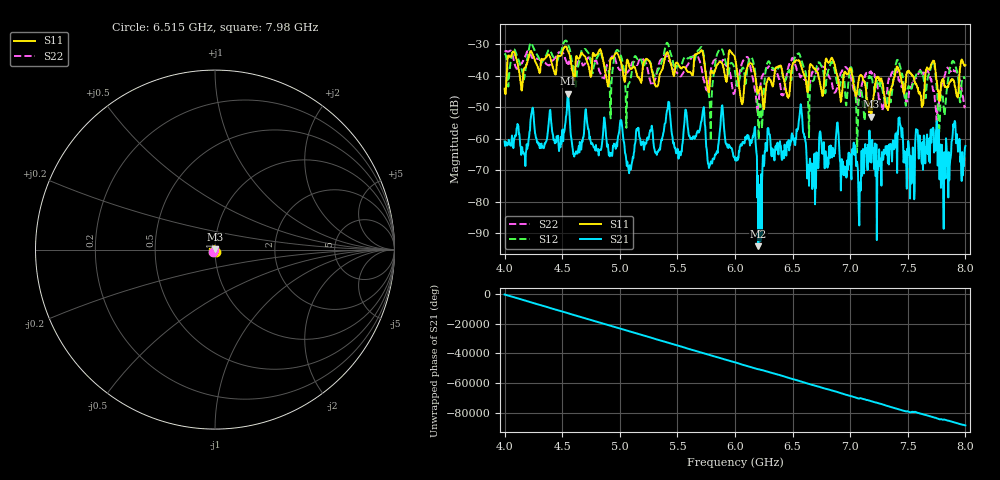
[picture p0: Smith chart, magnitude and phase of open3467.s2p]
# Hz  S  RI  R  50.0
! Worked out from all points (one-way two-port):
!   1000 points, 4 GHz to 8 GHz, reference 50 ohm
!   highest |S21| = -45.75 dB at 4.549 GHz (marker M1); lowest = -94.1 dB at 6.202 GHz (marker M2)
!   lowest |S11| = -53.1 dB at 7.183 GHz (marker M3), VSWR 1.00, Z = 50.1 + j0.206 ohm
!   |S11| at or under -10 dB: start of sweep to end of sweep
!   |S22| runs from -55.9 to -32.1 dB; largest |S21 - S12| = 0.038
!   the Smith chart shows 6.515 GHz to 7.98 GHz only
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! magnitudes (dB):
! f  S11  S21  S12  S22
! 4 GHz  -44.2  -60.9  -33.0  -32.2
! 4.549 GHz  -32.1  -45.7  -30.1  -36.9
! 4.669 GHz  -32.8  -61.9  -32.1  -36.0
! 5.337 GHz  -42.1  -63.9  -38.0  -36.5
! 5.421 GHz  -33.2  -48.3  -30.2  -35.1
! 5.51 GHz  -36.5  -66.4  -37.0  -39.5
! 5.706 GHz  -32.1  -54.6  -31.0  -37.0
! 5.782 GHz  -42.3  -68.5  -49.3  -40.0
! 5.886 GHz  -36.1  -49.7  -31.7  -35.7
! 6.002 GHz  -34.8  -66.9  -39.1  -44.4
! 6.058 GHz  -48.8  -62.2  -38.0  -36.3
! 6.158 GHz  -37.4  -59.4  -35.6  -41.5
! 6.202 GHz  -45.6  -94.1  -56.7  -50.4
! 6.567 GHz  -36.0  -50.4  -33.9  -40.5
! 6.667 GHz  -36.7  -67.9  -41.8  -39.2
! 7.183 GHz  -53.1  -67.6  -40.4  -38.9
! 7.335 GHz  -49.9  -68.2  -45.1  -40.8
! 7.411 GHz  -37.6  -57.8  -35.2  -39.8
! 7.54 GHz  -39.9  -71.7  -43.2  -42.3
! 7.584 GHz  -44.0  -57.2  -39.0  -40.1
! 7.78 GHz  -47.7  -63.5  -52.7  -45.3
! 8 GHz  -36.7  -62.4  -40.7  -49.8
